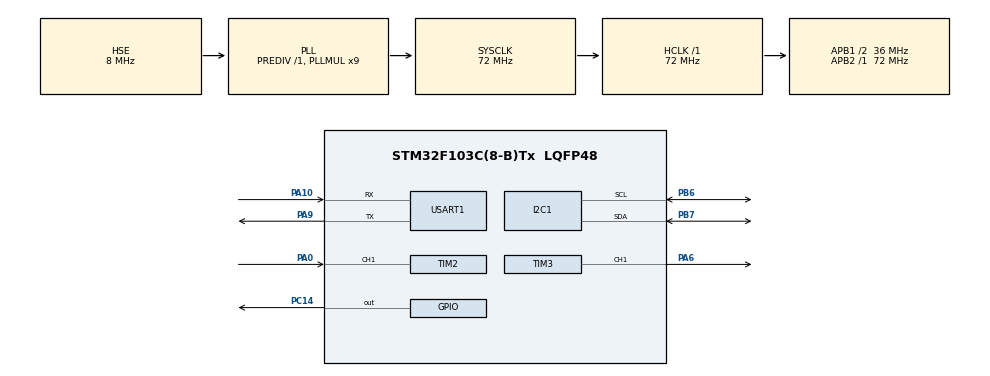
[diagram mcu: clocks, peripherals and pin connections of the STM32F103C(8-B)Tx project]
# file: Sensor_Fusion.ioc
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FREERTOS.Tasks01=defaultTask,0,128,StartDefaultTask,Default,NULL,Dynamic,NULL,NULL
I2C1.I2C_Mode=I2C_Standard
Mcu.Family=STM32F1
Mcu.Name=STM32F103C(8-B)Tx
Mcu.Package=LQFP48
NVIC.PriorityGroup=NVIC_PRIORITYGROUP_4
NVIC.TIM2_IRQn=true\:5\:0\:false\:false\:true\:true\:true\:true\:true
NVIC.TIM3_IRQn=true\:5\:0\:false\:false\:true\:true\:true\:true\:true
NVIC.TIM4_IRQn=true\:15\:0\:false\:false\:true\:false\:false\:true\:true
NVIC.TimeBase=TIM4_IRQn
NVIC.TimeBaseIP=TIM4
NVIC.USART1_IRQn=true\:5\:0\:false\:false\:true\:true\:true\:true\:true
PA0-WKUP.Signal=S_TIM2_CH1_ETR
PA10.Mode=Asynchronous
PA10.Signal=USART1_RX
PA13.Mode=Trace_Asynchronous_SW
PA13.Signal=SYS_JTMS-SWDIO
PA14.Mode=Trace_Asynchronous_SW
PA14.Signal=SYS_JTCK-SWCLK
PA6.Signal=S_TIM3_CH1
PA9.Mode=Asynchronous
PA9.Signal=USART1_TX
PB3.Mode=Trace_Asynchronous_SW
PB3.Signal=SYS_JTDO-TRACESWO
PB6.Mode=I2C
PB6.Signal=I2C1_SCL
PB7.Mode=I2C
PB7.Signal=I2C1_SDA
PC14-OSC32_IN.Signal=GPIO_Output
PD0-OSC_IN.Mode=HSE-External-Oscillator
PD0-OSC_IN.Signal=RCC_OSC_IN
PD1-OSC_OUT.Mode=HSE-External-Oscillator
PD1-OSC_OUT.Signal=RCC_OSC_OUT
ProjectManager.HeapSize=0x200
ProjectManager.StackSize=0x400
ProjectManager.TargetToolchain=STM32CubeIDE
RCC.AHBFreq_Value=72000000
RCC.APB1CLKDivider=RCC_HCLK_DIV2
RCC.APB1Freq_Value=36000000
RCC.APB1TimFreq_Value=72000000
RCC.APB2Freq_Value=72000000
RCC.APB2TimFreq_Value=72000000
RCC.HCLKFreq_Value=72000000
RCC.PLLMUL=RCC_PLL_MUL9
RCC.PLLSourceVirtual=RCC_PLLSOURCE_HSE
RCC.SYSCLKFreq_VALUE=72000000
RCC.SYSCLKSource=RCC_SYSCLKSOURCE_PLLCLK
RCC.USBFreq_Value=72000000
SH.S_TIM2_CH1_ETR.0=TIM2_CH1,Input_Capture1_from_TI1
SH.S_TIM3_CH1.0=TIM3_CH1,PWM Generation1 CH1
TIM2.Channel-Input_Capture1_from_TI1=TIM_CHANNEL_1
TIM2.Prescaler=71
TIM3.Channel-PWM\ Generation1\ CH1=TIM_CHANNEL_1
TIM3.Period=999
TIM3.Prescaler=71
TIM3.Pulse-PWM\ Generation1\ CH1=500
USART1.VirtualMode=VM_ASYNC
VP_FREERTOS_VS_CMSIS_V1.Mode=CMSIS_V1
VP_SYS_VS_tim4.Mode=TIM4
board=custom

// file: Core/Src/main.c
/* USER CODE BEGIN Header */
/**
  ******************************************************************************
  * @file           : main.c
  * @brief          : Chương trình Dung hợp dữ liệu Siêu âm và ToF (Sensor Fusion)
  ******************************************************************************
  * @attention
  *
  * Copyright (c) 2026 STMicroelectronics.
  * All rights reserved.
  *
  * This software is licensed under terms that can be found in the LICENSE file
  * in the root directory of this software component.
  * If no LICENSE file comes with this software, it is provided AS-IS.
  *
  ******************************************************************************
  */
/* USER CODE END Header */
#include "main.h"
#include "cmsis_os.h"
#include "i2c.h"
#include "tim.h"
#include "usart.h"
#include "gpio.h"

/* USER CODE BEGIN Includes */
#include <stdio.h>
#include <stdint.h>
#include <stdlib.h>
#include "VL53L0X.h"
/* USER CODE END Includes */

/* USER CODE BEGIN PD */
#define VL53L0X_I2C_ADDRESS (0x29 << 1)
#define OUT_OF_RANGE 999
/* USER CODE END PD */

/* USER CODE BEGIN PV */
uint32_t previous_us_tick = 0;

// --- Biến Siêu âm ---
volatile uint32_t distance_raw;
volatile uint8_t data_ready = 0;
uint32_t start_time = 0, end_time = 0;
uint8_t is_first_captured = 0;
uint8_t sample_count = 0; // Đếm số lượng mẫu đã lấy
uint32_t distance_list[5] = {0};
uint32_t sonic_final_cm = OUT_OF_RANGE;

// --- Biến ToF ---
struct VL53L0X myToF;
uint16_t tof_raw_distance = 0;

// --- Biến Hệ Thống (Sau khi dung hợp) ---
uint32_t system_distance_cm = OUT_OF_RANGE; // Khoảng cách cuối cùng được chốt

// --- Biến Còi ---
uint8_t is_beeping = 0; // 0 là tắt, 1 là mở
uint32_t buzzer_last_toggle = 0;

uint32_t final_distance = 999;

/* USER CODE END PV */

void SystemClock_Config(void);
void MX_FREERTOS_Init(void);
/* USER CODE BEGIN PFP */
void sonic_Sensor_Filter(void);
uint32_t sensor_Fusion(uint32_t sonic_cm, uint32_t tof_mm);
void buzzer_Beep(uint32_t now_Time);
/* USER CODE END PFP */

/* USER CODE BEGIN 0 */
void DWT_Init(void) {
  // Kích hoạt DWT (Trace Enable) trong thanh ghi DEMCR của CoreDebug
  CoreDebug->DEMCR |= CoreDebug_DEMCR_TRCENA_Msk;

  // Reset bộ đếm chu kỳ về 0
  DWT->CYCCNT = 0;

  // Bật bộ đếm (Cycle count enable) trong thanh ghi CTRL của DWT
  DWT->CTRL |= DWT_CTRL_CYCCNTENA_Msk;
}

void DWT_Delay_us(uint32_t us) {
  uint32_t startTick = DWT->CYCCNT;
  uint32_t delayTicks = us * (SystemCoreClock / 1000000);
  while ((DWT->CYCCNT - startTick) < delayTicks);
}

void HAL_TIM_IC_CaptureCallback(TIM_HandleTypeDef *htim) {
  if (htim->Instance == TIM2) {
    if (is_first_captured == 0){ // Nếu là cạnh lên
      start_time = HAL_TIM_ReadCapturedValue(htim, TIM_CHANNEL_1);
      is_first_captured = 1;
      __HAL_TIM_SET_CAPTUREPOLARITY(htim, TIM_CHANNEL_1, TIM_INPUTCHANNELPOLARITY_FALLING); // Bật cạnh xuống
    }
    else{ // Nếu là cạnh xuống
      end_time = HAL_TIM_ReadCapturedValue(htim, TIM_CHANNEL_1);

      if(end_time > start_time)
        distance_raw = (end_time - start_time) / 58;
      else{
        distance_raw = ((65535 - start_time) + end_time) / 58;
      }

      data_ready = 1;
      is_first_captured = 0;
      __HAL_TIM_SET_CAPTUREPOLARITY(htim, TIM_CHANNEL_1, TIM_INPUTCHANNELPOLARITY_RISING); // Bật cạnh lên
    }
  }
}
/* USER CODE END 0 */

int main(void)
{

  /* MCU Configuration--------------------------------------------------------*/

  /* Reset of all peripherals, Initializes the Flash interface and the Systick. */
  HAL_Init();

  /* Configure the system clock */
  SystemClock_Config();

  /* Initialize all configured peripherals */
  MX_GPIO_Init();
  MX_I2C1_Init();
  MX_TIM2_Init();
  MX_TIM3_Init();
  MX_USART1_UART_Init();
  /* USER CODE BEGIN 2 */
  DWT_Init();
  HAL_TIM_IC_Start_IT(&htim2, TIM_CHANNEL_1);

  HAL_GPIO_WritePin(GPIOC, GPIO_PIN_14, GPIO_PIN_SET);
  DWT_Delay_us(10);
  HAL_GPIO_WritePin(GPIOC, GPIO_PIN_14, GPIO_PIN_RESET);

  myToF.address = VL53L0X_I2C_ADDRESS;
  myToF.io_timeout = 500;

  printf("--- BAT DAU TEST DO KHOANG CACH VL53L0X ---\r\n");

  // uint8_t start_cmd = 0x01; // Lệnh 0x01 (Single-shot)
  // uint8_t status = 0;
  // uint8_t dist_data[2] = {0, 0};
  // uint16_t tof_distance_mm = 0;

  printf("Dang khoi tao vl53l0x...\r\n");
  if(VL53L0X_init(&myToF)){
    printf("Da khoi tao vl53l0x thanh cong...\r\n");
    // Cấu hình thời gian đo 33ms (đảm bảo tốc độ nhanh để chạy realtime)
    VL53L0X_setMeasurementTimingBudget(&myToF, 33000);
  }
  else{
    printf("Khoi tao vl53l0x that bai...\r\n");
  }

  // Trigger mồi hệ thống siêu âm
  HAL_GPIO_WritePin(GPIOC, GPIO_PIN_14, GPIO_PIN_SET);
  DWT_Delay_us(10);
  HAL_GPIO_WritePin(GPIOC, GPIO_PIN_14, GPIO_PIN_RESET);

  // // 1. Gửi lệnh yêu cầu bắn laser vào thanh ghi SYSRANGE_START (0x00)
  // HAL_I2C_Mem_Write(&hi2c1, VL53L0X_I2C_ADDRESS, 0x00, 1, &start_cmd, 1, 100);
  // printf("-> Da ra lenh ban Laser...\r\n");

  // // 2. Vòng lặp chờ cảm biến đo xong
  // uint32_t timeout_tick = HAL_GetTick();
  // while((status & 0x01) == 0){
  //   HAL_I2C_Mem_Read(&hi2c1, VL53L0X_I2C_ADDRESS, 0x14, 1, &status, 1, 100);
  //   if(HAL_GetTick() - timeout_tick > 1000){
  //     printf("-> Timed out!\r\n");
  //     break;
  //   }
  // }

  // // 3. Nếu đo thành công, đọc 2 byte kết quả
  // if (status & 0x01){
  //   // Khoảng cách được lưu ở thanh ghi 0x1E (Byte cao) và 0x1F (Byte thấp)
  //   HAL_I2C_Mem_Read(&hi2c1, VL53L0X_I2C_ADDRESS, 0x1E, 1, dist_data, 2, 100);

  //   // Ghép 2 byte lại thành 1 số nguyên 16-bit
  //   tof_distance_mm = (dist_data[0] << 8) | dist_data[1];
  //   printf("-> Khoang cach: %d mm\r\n", tof_distance_mm);
  // }
  // printf("--------------------------------\r\n");
  // HAL_Delay(2000);

  /* USER CODE END 2 */

  /* Call init function for freertos objects (in cmsis_os2.c) */
  MX_FREERTOS_Init();

  /* Start scheduler */
  osKernelStart();

  /* We should never get here as control is now taken by the scheduler */

  /* Infinite loop */
  /* USER CODE BEGIN WHILE */

  uint32_t now = 0, last_change = 0;
  uint8_t index = 0;

  while (1)
  {
    now = HAL_GetTick();

    // ========================================================
    // TASK 1: ĐỌC VÀ LỌC CẢM BIẾN (Chạy mỗi 100ms)
    // ========================================================
    if (now - last_change >= 100) {
      if (data_ready == 1){
        data_ready = 0;
        // Cập nhật mảng data
        distance_list[index] = distance_raw;
        index = (index + 1) % 5;

        sonic_Sensor_Filter();
      }
      else{
        // Lỗi mất kết nối
        if(sample_count > 0){
          printf("Sensor Timeout / Disconnected!\r\n");
          sample_count = 0;
          sonic_final_cm = OUT_OF_RANGE;
        }
      }
      tof_raw_distance = VL53L0X_readRangeSingleMillimeters(&myToF);

      if(sample_count == 5){
        system_distance_cm = sensor_Fusion(sonic_final_cm, tof_raw_distance);
        // In log tổng hợp ra màn hình
          printf("Sonic: %3lu cm | ToF: %3u cm | FINAL: %3lu cm\r\n",
                 sonic_final_cm, (tof_raw_distance/10), system_distance_cm);
      }
      else{
        printf("Loading Filter...\r\n");
      }

      // printf("Sieu am: %lu cm | ToF: %u mm (~%u cm)\r\n", final_distance, tof_raw_distance, tof_raw_distance / 10);

      last_change = now;
      HAL_GPIO_WritePin(GPIOC, GPIO_PIN_14, GPIO_PIN_SET);
      DWT_Delay_us(10);
      HAL_GPIO_WritePin(GPIOC, GPIO_PIN_14, GPIO_PIN_RESET);

    }
    // ========================================================
    // TASK 2: ĐIỀU KHIỂN CÒI BÁO (Chạy liên tục không bị nghẽn)
    // ========================================================
    buzzer_Beep(now);

    /* USER CODE END WHILE */

  }
}

void SystemClock_Config(void)
{
  RCC_OscInitTypeDef RCC_OscInitStruct = {0};
  RCC_ClkInitTypeDef RCC_ClkInitStruct = {0};

  /** Initializes the RCC Oscillators according to the specified parameters
  * in the RCC_OscInitTypeDef structure.
  */
  RCC_OscInitStruct.OscillatorType = RCC_OSCILLATORTYPE_HSE;
  RCC_OscInitStruct.HSEState = RCC_HSE_ON;
  RCC_OscInitStruct.HSEPredivValue = RCC_HSE_PREDIV_DIV1;
  RCC_OscInitStruct.HSIState = RCC_HSI_ON;
  RCC_OscInitStruct.PLL.PLLState = RCC_PLL_ON;
  RCC_OscInitStruct.PLL.PLLSource = RCC_PLLSOURCE_HSE;
  RCC_OscInitStruct.PLL.PLLMUL = RCC_PLL_MUL9;
  if (HAL_RCC_OscConfig(&RCC_OscInitStruct) != HAL_OK)
  {
    Error_Handler();
  }

  /** Initializes the CPU, AHB and APB buses clocks
  */
  RCC_ClkInitStruct.ClockType = RCC_CLOCKTYPE_HCLK|RCC_CLOCKTYPE_SYSCLK
                              |RCC_CLOCKTYPE_PCLK1|RCC_CLOCKTYPE_PCLK2;
  RCC_ClkInitStruct.SYSCLKSource = RCC_SYSCLKSOURCE_PLLCLK;
  RCC_ClkInitStruct.AHBCLKDivider = RCC_SYSCLK_DIV1;
  RCC_ClkInitStruct.APB1CLKDivider = RCC_HCLK_DIV2;
  RCC_ClkInitStruct.APB2CLKDivider = RCC_HCLK_DIV1;

  if (HAL_RCC_ClockConfig(&RCC_ClkInitStruct, FLASH_LATENCY_2) != HAL_OK)
  {
    Error_Handler();
  }
}

/* USER CODE BEGIN 4 */
int _write(int fd, char* ptr, int len){
  HAL_StatusTypeDef hstatus;
  if(fd == 1 || fd == 2){
    hstatus = HAL_UART_Transmit(&huart1, (uint8_t*)ptr, len, HAL_MAX_DELAY);
    if (hstatus == HAL_OK) return len;
  }
  return -1;
}

void sonic_Sensor_Filter(void){
if (sample_count < 5) {
          sample_count++;
        }
        // Tính toán bộ lọc
        if (sample_count == 5) {
          uint32_t sum = 0;
          uint32_t top = 0;
          uint32_t bot = distance_list[0];

          for (int i = 0; i < 5; i++) {
            sum += distance_list[i];
            if (distance_list[i] > top) top = distance_list[i];
            if (distance_list[i] < bot) bot = distance_list[i];
          }
          sum -= (top + bot);
          sonic_final_cm = sum / 3;
        }
}

uint32_t sensor_Fusion(uint32_t sonic_cm, uint32_t tof_mm){
  uint32_t tof_cm = tof_mm / 10;
  uint32_t fusion_cm = OUT_OF_RANGE;

  uint8_t sonic_valid = (sonic_cm > 0 && sonic_cm < 400);
  uint8_t tof_valid = (tof_mm > 0 && tof_mm < 2000);

  // TH1: Cả 2 đều bắt được vật thê
  if(sonic_valid && tof_valid){
    if (abs((uint32_t)sonic_cm) - abs((uint32_t)tof_cm) > 20){
      // Nếu chênh lệch nhiều -> Gặp vật thể đặc biệt
      // Ưu tiên khoảng cách nhỏ hơn
      fusion_cm = (sonic_cm < tof_cm)? sonic_cm : tof_cm;
      printf("[FUSION] Canh bao vat lieu dac biet! Chon: %lu cm\r\n", fusion_cm);
    }
    else{
      // Nếu không chênh lệch nhiều, ưu tiên tof
      fusion_cm = tof_cm;
    }
  }
  // TH2: ToF chết/ ngoài tầm, Sonic sống (Vật ở xa hoặc ngoài nắng)
  else if(sonic_valid && !tof_valid){
    fusion_cm = sonic_cm;
  }

  //TH3: Sonic chết, ToF sống (Bề mặt hút âm thanh, vật nghiêng)
  else if(!sonic_valid && tof_valid){
    fusion_cm = tof_cm;
  }

  //TH4: 2 cái chết
  else{
    fusion_cm = OUT_OF_RANGE;
  }
  return fusion_cm;
}

void buzzer_Beep(uint32_t now_Time){
if (sample_count < 5 || system_distance_cm > 100) {
      HAL_TIM_PWM_Stop(&htim3, TIM_CHANNEL_1);
      is_beeping = 0;
    }
    else if (system_distance_cm <= 30) {
      HAL_TIM_PWM_Start(&htim3, TIM_CHANNEL_1);
      is_beeping = 1;
    }
    else{
      uint32_t beep_off_time = (system_distance_cm * 5) + 50;
      if(is_beeping == 1){
        // Nếu còi đang kêu, kiểm tra xem đã kêu đủ 50ms chưa để tắt
        if(now_Time - buzzer_last_toggle >= 50){
          HAL_TIM_PWM_Stop(&htim3, TIM_CHANNEL_1);
          is_beeping = 0;
          buzzer_last_toggle = now_Time;
        }
      }
      else{
        if(now_Time - buzzer_last_toggle >= beep_off_time){ // Nếu còi đang tắt, kiểm tra xem đã nghỉ đủ chưa để bật
          HAL_TIM_PWM_Start(&htim3, TIM_CHANNEL_1);
          is_beeping = 1; // Chuyển trạng thái sang kêu
          buzzer_last_toggle = now_Time;
        }
      }
    }
}
/* USER CODE END 4 */

void HAL_TIM_PeriodElapsedCallback(TIM_HandleTypeDef *htim)
{
  if (htim->Instance == TIM4)
  {
    HAL_IncTick();
  }
}

void Error_Handler(void)
{
  __disable_irq();
  while (1)
  {
  }
}
